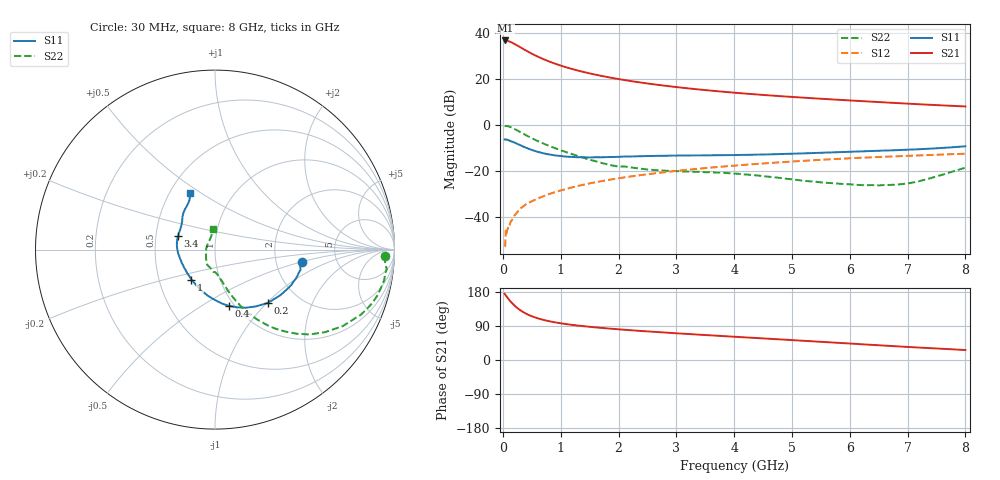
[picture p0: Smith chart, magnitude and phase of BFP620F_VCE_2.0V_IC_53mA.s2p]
! Infineon Technologies  Discrete & RF Semiconductors
! BFP620F
! VCE =  2.0 V,  IC =  53 mA
! Common Emitter S-Parameters:  Dec 2014
# GHz  S  MA  R  50
!  f  S11  S21  S12  S22
! GHz  MAG  ANG  MAG  ANG  MAG  ANG  MAG  ANG
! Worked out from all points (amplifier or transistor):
!   95 points, 30 MHz to 8 GHz, reference 50 ohm
!   highest |S21| = 36.9 dB at 40 MHz (marker M1)
!   |S21| within 3 dB of that: start of sweep to 304.1 MHz
!   unconditionally stable (mu >= 1): 1.866 GHz to end of sweep
!   at 300 MHz: K = 0.50, MSG = 35.2 dB, |S12| = -36.4 dB
!   at 3.3 GHz: K = 1.03, MAG = 16.4 dB, |S12| = -19.2 dB
!   at 8 GHz: K = 1.05, MAG = 8.9 dB, |S12| = -12.5 dB
!   S11 on the Smith chart (normalised r, x): 30 MHz: 2.80, -0.51; 200 MHz: 1.40, -1.01; 400 MHz: 0.94, -0.66; 1 GHz: 0.73, -0.25; 3.4 GHz: 0.65, +0.10; 8 GHz: 0.63, +0.45
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0.03  0.488 -8.2  70.19 174.7  0.0023 83.0  0.9477 -2.1
0.04  0.4817 -10.4  70.21 172.6  0.0023 109.5  0.9501 -4.2
0.08  0.4778 -20.2  69.08 164.3  0.0053 88.9  0.9514 -12.2
0.12  0.4568 -29.3  66.04 156.7  0.0069 75.8  0.9222 -19.2
0.15  0.4421 -35.6  63.69 151.6  0.0082 74.2  0.8894 -24.1
0.2  0.4175 -45.5  59.03 143.9  0.0107 74.2  0.829 -31.0
0.25  0.3901 -54.2  54.47 137.1  0.0127 74.6  0.7672 -36.8
0.3  0.3663 -62.2  50.06 131.4  0.0152 72.9  0.708 -41.9
0.4  0.3227 -76.1  42.33 122.3  0.0189 71.3  0.6029 -49.3
0.5  0.2878 -87.5  36.17 115.5  0.0219 70.3  0.5196 -54.9
0.6  0.2627 -97.8  31.33 110.1  0.0251 70.4  0.4517 -59.1
0.7  0.2434 -106.5  27.53 105.8  0.0282 70.5  0.3976 -62.4
0.8  0.2301 -114.5  24.45 102.4  0.0314 70.2  0.3531 -65.0
1  0.2124 -128.3  19.91 96.9  0.0377 70.1  0.2844 -69.3
1.4  0.1997 -149.5  14.39 89.2  0.0504 69.2  0.1937 -76.2
2  0.2038 -171.3  10.12 81.0  0.0694 67.0  0.1251 -89.5
2.7  0.2146 172.5  7.512 73.5  0.0914 63.2  0.1036 -105.9
3.4  0.2191 160.3  5.982 66.8  0.1126 59.0  0.0959 -116.6
4.1  0.2242 150.1  4.984 60.5  0.134 54.8  0.0864 -123.4
5.4  0.2475 137.5  3.833 48.9  0.1727 46.0  0.0587 -150.0
6.7  0.2819 125.8  3.087 37.1  0.2068 36.6  0.0498 151.6
8  0.3462 113.7  2.556 26.3  0.2384 27.5  0.1178 94.2
